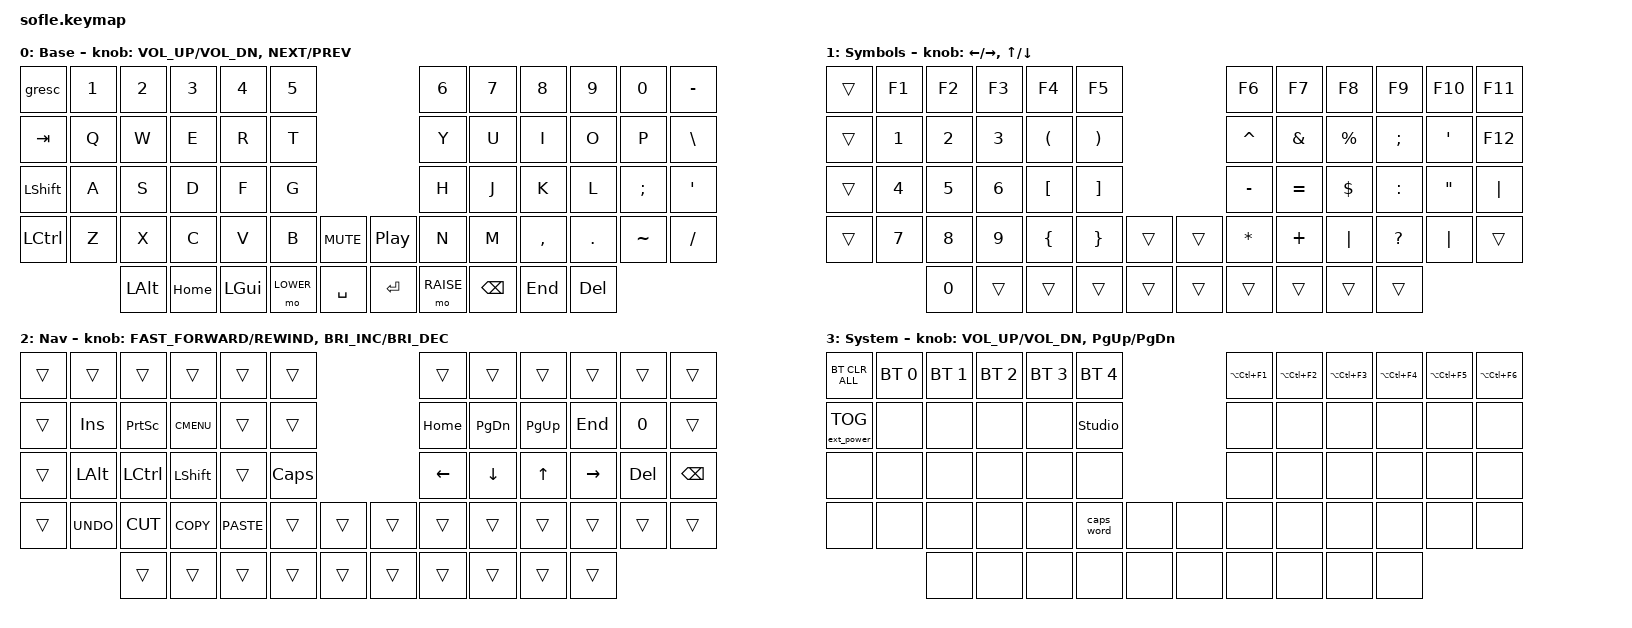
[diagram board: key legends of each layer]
/*
 * Copyright (c) 2020 The ZMK Contributors
 *
 * SPDX-License-Identifier: MIT
 */

#include <behaviors.dtsi>
#include <dt-bindings/zmk/bt.h>
#include <dt-bindings/zmk/ext_power.h>
#include <dt-bindings/zmk/keys.h>

// Encoders

&sensors { triggers-per-rotation = <20>; };

&left_encoder { steps = <80>; };

&right_encoder { steps = <80>; };

#define BASE 0
#define LOWER 1
#define RAISE 2
#define ADJUST 3

/ {
    // Activate ADJUST layer by pressing raise and lower

    conditional_layers {
        compatible = "zmk,conditional-layers";

        adjust_layer {
            if-layers = <LOWER RAISE>;
            then-layer = <ADJUST>;
        };
    };

    combos {
        compatible = "zmk,combos";

        backspace {
            bindings = <&kp BACKSPACE>;
            key-positions = <32 31>;
        };

        delete {
            bindings = <&kp DELETE>;
            key-positions = <27 33>;
        };

        esc {
            bindings = <&kp ESCAPE>;
            key-positions = <25 41>;
        };
    };

    behaviors {
        caps: caps {
            compatible = "zmk,behavior-caps-word";
            label = "CAPS";
            #binding-cells = <0>;
            continue-list = <POUND MINUS BACKSPACE UNDERSCORE>;
        };
    };

    keymap {
        compatible = "zmk,keymap";

        default_layer {
            display-name = "Base";

            // ------------------------------------------------------------------------------------------------------------
            // |   `   |  1  |  2  |  3   |  4   |  5   |                   |  6   |  7    |  8    |  9   |   0   |       |
            // |  ESC  |  Q  |  W  |  E   |  R   |  T   |                   |  Y   |  U    |  I    |  O   |   P   | BKSPC |
            // |  TAB  |  A  |  S  |  D   |  F   |  G   |                   |  H   |  J    |  K    |  L   |   ;   |   '   |
            // | SHIFT |  Z  |  X  |  C   |  V   |  B   |  MUTE  |  |       |  N   |  M    |  ,    |  .   |   /   | SHIFT |
            //               | GUI | ALT  | CTRL | LOWER|  ENTER |  | SPACE | RAISE| CTRL  | ALT   | GUI  |
            // ------------------------------------------------------------------------------------------------------------
            // |  ESC  |  1  |  2  |  3   |  4   |  5   |                   |  6   |  7    |  8    |  9   |   0   |  -    |
            // |   `   |  Q  |  W  |  E   |  R   |  T   |                   |  Y   |  U    |  I    |  O   |   P   | BKSPC |
            // | SHIFT |  A  |  S  |  D   |  F   |  G   |                   |  H   |  J    |  K    |  L   |   ;   |   '   |
            // | CTRL  |  Z  |  X  |  C   |  V   |  B   |  MUTE  |  |       |  N   |  M    |  ,    |  .   |   /   | SHIFT |
            //               | ALT | GUI  | TAB | LOWER|  ENTER |  | SPACE | RAISE| CTRL  | ALT   | GUI  |

            bindings = <
&gresc            &kp N1  &kp N2    &kp N3    &kp N4        &kp N5                                     &kp N6     &kp N7    &kp N8     &kp N9      &kp N0     &kp MINUS
&kp TAB           &kp Q   &kp W     &kp E     &kp R         &kp T                                      &kp Y      &kp U     &kp I      &kp O       &kp P      &kp BACKSLASH
&kp LEFT_SHIFT    &kp A   &kp S     &kp D     &kp F         &kp G                                      &kp H      &kp J     &kp K      &kp L       &kp SEMI   &kp SINGLE_QUOTE
&kp LEFT_CONTROL  &kp Z   &kp X     &kp C     &kp V         &kp B      &kp C_MUTE    &kp C_PLAY_PAUSE  &kp N      &kp M     &kp COMMA  &kp DOT     &kp TILDE  &kp SLASH
                          &kp LALT  &kp HOME  &kp LEFT_GUI  &mo LOWER  &kp SPACE     &kp ENTER         &mo RAISE  &kp BSPC  &kp END    &kp DELETE
            >;

            sensor-bindings =
                <&inc_dec_kp C_VOL_UP C_VOL_DN>,
                <&inc_dec_kp C_NEXT C_PREV>;
        };

        lower_layer {
            display-name = "Symbols";

            // TODO: Some binds are waiting for shifted keycode support.
            // ------------------------------------------------------------------------------------------------------------
            // |       |  F1 |  F2 |  F3  |  F4  |  F5  |                   |  F6  |  F7   |  F8   |  F9  |  F10  |  F11  |
            // |   `   |  1  |  2  |  3   |  4   |  5   |                   |  6   |  7    |  8    |  9   |   0   |  F12  |
            // |       |  !  |  @  |  #   |  $   |  %   |                   |  ^   |  &    |  *    |  (   |   )   |   |   |
            // |       |  =  |  -  |  +   |  {   |  }   |        |  |       |  [   |  ]    |  ;    |  :   |   \   |       |
            //               |     |      |      |      |        |  |       |      |       |       |      |

            bindings = <
&trans  &kp F1  &kp F2  &kp F3  &kp F4          &kp F5                             &kp F6     &kp F7         &kp F8     &kp F9     &kp F10   &kp F11
&trans  &kp N1  &kp N2  &kp N3  &kp LPAR        &kp RPAR                           &kp CARET  &kp AMPERSAND  &kp PRCNT  &kp SEMI   &kp SQT   &kp F12
&trans  &kp N4  &kp N5  &kp N6  &kp LBKT        &kp RBKT                           &kp MINUS  &kp EQUAL      &kp DLLR   &kp COLON  &kp DQT   &kp PIPE
&trans  &kp N7  &kp N8  &kp N9  &kp LEFT_BRACE  &kp RIGHT_BRACE  &trans    &trans  &kp ASTRK  &kp PLUS       &kp PIPE   &kp QMARK  &kp PIPE  &trans
                &kp N0  &trans  &trans          &trans           &trans    &trans  &trans     &trans         &trans     &trans
            >;

            sensor-bindings =
                <&inc_dec_kp LEFT_ARROW RIGHT_ARROW>,
                <&inc_dec_kp UP_ARROW DOWN_ARROW>;
        };

        raise_layer {
            display-name = "Nav";

            // ------------------------------------------------------------------------------------------------------------
            // | BTCLR | BT1  | BT2  |  BT3  |  BT4  |  BT5 |                |      |      |       |      |       |       |
            // |       | INS  | PSCR | GUI   |       |      |                | PGUP |      |   ^   |      |       |       |
            // |       | ALT  | CTRL | SHIFT |       | CAPS |                | PGDN |   <- |   v   |  ->  |  DEL  | BKSPC |
            // |       | UNDO | CUT  | COPY  | PASTE |      |      |  |      |      |      |       |      |       |       |
            //                |      |       |       |      |      |  |      |      |      |       |      |

            bindings = <
&trans  &trans      &trans     &trans       &trans       &trans                      &trans          &trans          &trans        &trans     &trans   &trans
&trans  &kp INS     &kp PSCRN  &kp K_CMENU  &trans       &trans                      &kp HOME        &kp PAGE_DOWN   &kp PAGE_UP   &kp END    &kp N0   &trans
&trans  &kp LALT    &kp LCTRL  &kp LSHFT    &trans       &kp CLCK                    &kp LEFT_ARROW  &kp DOWN_ARROW  &kp UP_ARROW  &kp RIGHT  &kp DEL  &kp BSPC
&trans  &kp K_UNDO  &kp K_CUT  &kp K_COPY   &kp K_PASTE  &trans    &trans    &trans  &trans          &trans          &trans        &trans     &trans   &trans
                    &trans     &trans       &trans       &trans    &trans    &trans  &trans          &trans          &trans        &trans
            >;

            sensor-bindings =
                <&inc_dec_kp C_FAST_FORWARD C_REWIND>,
                <&inc_dec_kp C_BRIGHTNESS_INC C_BRIGHTNESS_DEC>;
        };

        adjust_layer {
            // ----------------------------------------------------------------------------------------------------------------------------
            // | BTCLR  |  BT1    |  BT2    |   BT3   |   BT4   |   BT5   |                  |      |      |       |      |       |       |
            // | EXTPWR | RGB_HUD | RGB_HUI | RGB_SAD | RGB_SAI | RGB_EFF |                  |      |      |       |      |       |       |
            // |        | RGB_BRD | RGB_BRI |         |         |         |                  |      |      |       |      |       |       |
            // |        |         |         |         |         |         | RGB_TOG | |      |      |      |       |      |       |       |
            //                    |         |         |         |         |         | |      |      |      |       |      |

            display-name = "System";
            bindings = <
&bt BT_CLR_ALL     &bt BT_SEL 0  &bt BT_SEL 1  &bt BT_SEL 2  &bt BT_SEL 3  &bt BT_SEL 4                    &kp LA(LC(F1))  &kp LA(LC(F2))  &kp LA(LC(F3))  &kp LA(LC(F4))  &kp LA(LC(F5))  &kp LA(LC(F6))
&ext_power EP_TOG  &none         &none         &none         &none         &studio_unlock                  &none           &none           &none           &none           &none           &none
&none              &none         &none         &none         &none         &none                           &none           &none           &none           &none           &none           &none
&none              &none         &none         &none         &none         &caps_word      &none    &none  &none           &none           &none           &none           &none           &none
                                 &none         &none         &none         &none           &none    &none  &none           &none           &none           &none
            >;

            sensor-bindings = <&inc_dec_kp C_VOL_UP C_VOL_DN &inc_dec_kp PG_UP PG_DN>;
        };
    };
};
